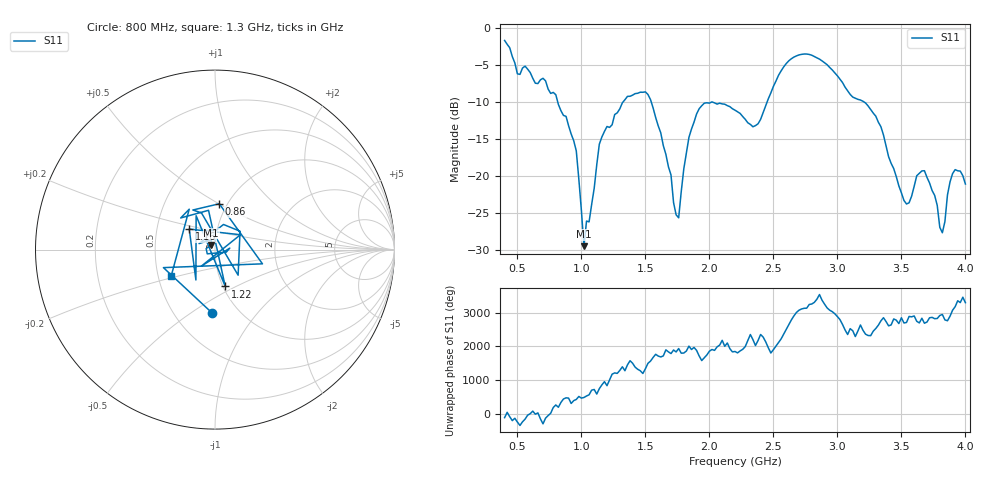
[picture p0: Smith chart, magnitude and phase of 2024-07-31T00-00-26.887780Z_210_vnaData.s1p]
!Created with skrf (http://scikit-rf.org).
# Hz S RI R 50.0
!freq ReS11 ImS11
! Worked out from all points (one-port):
!   181 points, 400 MHz to 4 GHz, reference 50 ohm
!   lowest |S11| = -29.5 dB at 1.02 GHz (marker M1), VSWR 1.07, Z = 47.8 + j2.49 ohm
!   |S11| at or under -10 dB: 814.9 MHz to 1.325 GHz (510.5 MHz wide, 47.7 % of centre); 1.546 GHz to 2.019 GHz (473.2 MHz wide, 26.5 % of centre); 3.208 GHz to end of sweep (the widest 3 of 4)
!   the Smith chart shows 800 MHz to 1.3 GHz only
!   S11 on the Smith chart (normalised r, x): 800 MHz: 0.76, -0.61; 860 MHz: 0.92, +0.50; 1.16 GHz: 0.73, +0.17; 1.22 GHz: 1.03, -0.44; 1.3 GHz: 0.59, -0.19
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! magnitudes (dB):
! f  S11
! 400 MHz  -1.7
! 500 MHz  -6.2
! 560 MHz  -5.2
! 800 MHz  -9.0
! 860 MHz  -11.8
! 960 MHz  -16.6
! 1.02 GHz  -29.5
! 1.16 GHz  -14.7
! 1.22 GHz  -13.4
! 1.3 GHz  -10.9
! 1.52 GHz  -9.0
! 1.62 GHz  -14.2
! 1.76 GHz  -25.6
! 1.84 GHz  -14.8
! 1.92 GHz  -10.9
! 2.2 GHz  -11.1
! 2.38 GHz  -12.9
! 2.66 GHz  -3.9
! 2.86 GHz  -4.2
! 3.1 GHz  -9.0
! 3.3 GHz  -11.9
! 3.52 GHz  -23.3
! 3.56 GHz  -23.6
! 3.62 GHz  -20.0
! 3.68 GHz  -19.3
! 3.82 GHz  -27.7
! 3.9 GHz  -19.7
! 4 GHz  -21.1
